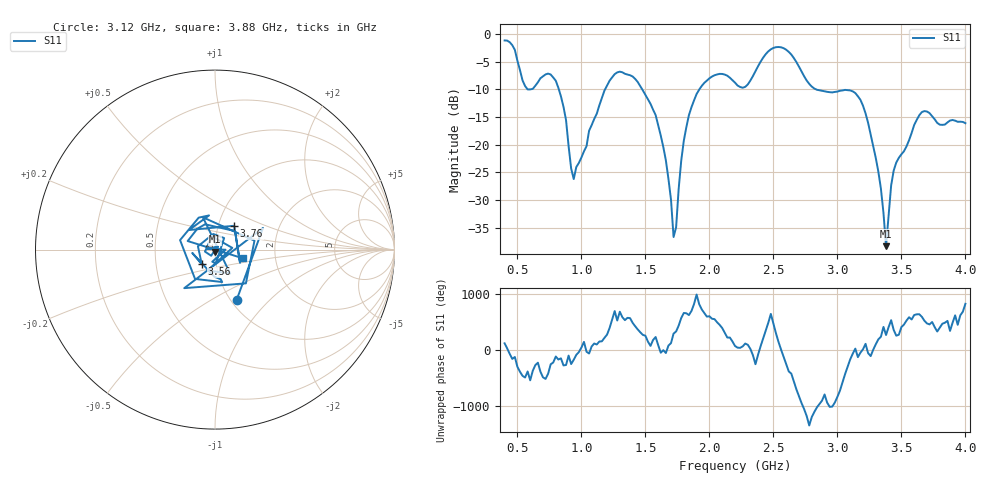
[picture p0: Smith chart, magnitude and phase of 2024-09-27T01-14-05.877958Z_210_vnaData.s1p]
!Created with skrf (http://scikit-rf.org).
# Hz S RI R 50.0
!freq ReS11 ImS11
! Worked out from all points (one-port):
!   181 points, 400 MHz to 4 GHz, reference 50 ohm
!   lowest |S11| = -38.3 dB at 3.38 GHz (marker M1), VSWR 1.02, Z = 50 - j1.21 ohm
!   |S11| at or under -10 dB: 823.9 MHz to 1.184 GHz (360.6 MHz wide, 35.9 % of centre); 1.476 GHz to 1.921 GHz (445.2 MHz wide, 26.2 % of centre); 2.835 GHz to end of sweep
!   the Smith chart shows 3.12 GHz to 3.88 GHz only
!   S11 on the Smith chart (normalised r, x): 3.12 GHz: 1.07, -0.66; 3.56 GHz: 0.85, -0.14; 3.76 GHz: 1.19, +0.33; 3.88 GHz: 1.37, -0.14
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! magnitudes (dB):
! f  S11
! 400 MHz  -1.1
! 580 MHz  -10.0
! 760 MHz  -7.3
! 860 MHz  -13.1
! 940 MHz  -26.2
! 1.18 GHz  -10.2
! 1.3 GHz  -6.8
! 1.58 GHz  -14.6
! 1.66 GHz  -22.8
! 1.72 GHz  -36.7
! 1.76 GHz  -27.9
! 1.82 GHz  -16.8
! 1.9 GHz  -10.8
! 2.2 GHz  -8.8
! 2.5 GHz  -2.5
! 2.66 GHz  -4.3
! 2.82 GHz  -9.8
! 3.1 GHz  -10.2
! 3.12 GHz  -10.3
! 3.2 GHz  -12.9
! 3.3 GHz  -22.4
! 3.38 GHz  -38.3
! 3.44 GHz  -24.6
! 3.56 GHz  -19.2
! 3.66 GHz  -14.1
! 3.76 GHz  -15.4
! 3.88 GHz  -15.6
! 4 GHz  -16.1
